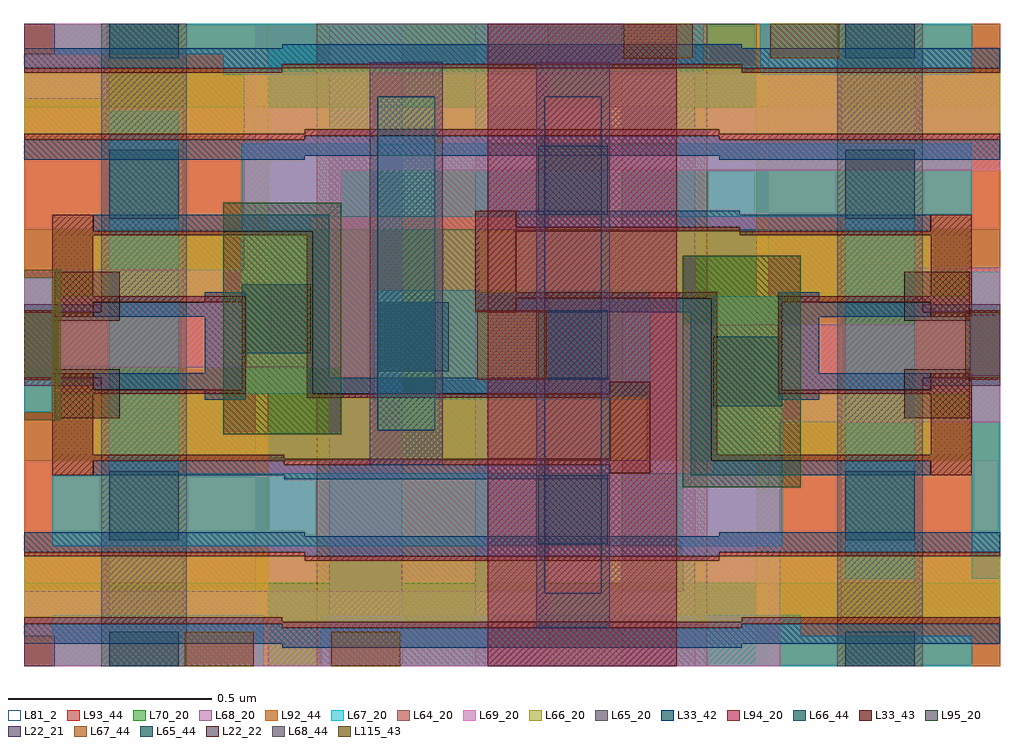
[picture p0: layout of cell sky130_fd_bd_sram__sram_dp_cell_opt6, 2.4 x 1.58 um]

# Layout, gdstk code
from math import pi, radians
import gdstk
lib = gdstk.Library(unit=1e-6, precision=1e-09)
def R(c, l, rs):  # rectangles x0, y0, x1, y1
    for r in rs: c.add(gdstk.rectangle(r[:2], r[2:], *l))
def P(c, l, *ps):  # polygons
    for p in ps: c.add(gdstk.Polygon(p, *l))
L22_21 = (22, 21)
L22_22 = (22, 22)
L33_42 = (33, 42)
L33_43 = (33, 43)
L64_20 = (64, 20)
L65_20 = (65, 20)
L65_44 = (65, 44)
L66_20 = (66, 20)
L66_44 = (66, 44)
L67_20 = (67, 20)
L67_44 = (67, 44)
L68_20 = (68, 20)
L68_44 = (68, 44)
L69_20 = (69, 20)
L70_20 = (70, 20)
L81_2 = (81, 2)
L92_44 = (92, 44)
L93_44 = (93, 44)
L94_20 = (94, 20)
L95_20 = (95, 20)
L115_43 = (115, 43)

sky130_fd_bd_sram__sram_ = lib.new_cell('sky130_fd_bd_sram__sram_dp_mcon_05')
R(sky130_fd_bd_sram__sram_, L67_44, [(-0.085,0,0.085,0.085)])

c_sky130_fd_bd_sram__sram_ = lib.new_cell('sky130_fd_bd_sram__sram_dp_cell_half_limcon_optc')
R(c_sky130_fd_bd_sram__sram_, L67_20, [(0.07,0,0.59,0.125), (0.73,0,1.2,0.125), (0,0.625,0.07,0.955), (0.86,0.655,1.2,0.925)])
P(c_sky130_fd_bd_sram__sram_, L67_20, [(0.49,1.455),(0.49,1.505),(0.07,1.505),(0.07,1.58),(1.2,1.58),(1.2,1.455)],
  [(0.535,0.67),(0.535,1.285),(1.2,1.285),(1.2,1.105),(0.705,1.105),(0.705,0.67)],
  [(0.07,0.295),(0.07,0.47),(0.21,0.47),(0.21,1.365),(0.38,1.365),(0.38,0.475),(1.2,0.475),(1.2,0.295)])
R(c_sky130_fd_bd_sram__sram_, L115_43, [(0,0.605,0.07,0.625), (0.07,0.605,0.09,0.975), (0,0.955,0.07,0.975)])
c_sky130_fd_bd_sram__sram_.add(gdstk.Reference(sky130_fd_bd_sram__sram_, (0.84,0)))
c_sky130_fd_bd_sram__sram_.add(gdstk.Reference(sky130_fd_bd_sram__sram_, (1.2,0.79), rotation=pi/2))
c_sky130_fd_bd_sram__sram_.add(gdstk.Reference(sky130_fd_bd_sram__sram_, (0,0.79), rotation=3*pi/2))
c_sky130_fd_bd_sram__sram_.add(gdstk.Reference(sky130_fd_bd_sram__sram_, (0.48,0)))
c_sky130_fd_bd_sram__sram_.add(gdstk.Label('with mcon', (0.215,0.795), layer=83, texttype=44))
c_sky130_fd_bd_sram__sram_.add(gdstk.Label('short li', (0.165,0.855), layer=83, texttype=44))
c_sky130_fd_bd_sram__sram_.add(gdstk.Label('in cell', (0.165,0.73), layer=83, texttype=44))

c_sky130_fd_bd_sram__sram__ = lib.new_cell('sky130_fd_bd_sram__sram_dp_cell_half_met1_opta')
R(c_sky130_fd_bd_sram__sram__, L68_20, [(0,0,0.21,1.58), (0.39,0,0.57,1.58), (0.75,0,0.93,1.58), (1.11,0,1.2,1.58)])

c_sky130_fd_bd_sram__sram___ = lib.new_cell('sky130_fd_bd_sram__sram_dp_cell_fom_ext_1')
R(c_sky130_fd_bd_sram__sram___, L22_21, [(-0.02,0,0.16,0.085)])

c_sky130_fd_bd_sram__sram____ = lib.new_cell('sky130_fd_bd_sram__sram_dp_licon_05')
R(c_sky130_fd_bd_sram__sram____, L66_44, [(-0.085,0,0.085,0.085)])

c_sky130_fd_bd_sram__sram_____ = lib.new_cell('sky130_fd_bd_sram__sram_dp_licon_1')
c_sky130_fd_bd_sram__sram_____.add(gdstk.Reference(c_sky130_fd_bd_sram__sram____, (0,0)))
c_sky130_fd_bd_sram__sram_____.add(gdstk.Reference(c_sky130_fd_bd_sram__sram____, (0,0), x_reflection=True))

c_sky130_fd_bd_sram__sram______ = lib.new_cell('sky130_fd_bd_sram__sram_dp_cell_pdiff')
R(c_sky130_fd_bd_sram__sram______, L22_21, [(1.26,0.18,1.28,1.4), (1.42,0.18,1.44,1.4), (0.85,0.58,0.87,1.4), (1.01,0.58,1.03,1.4)])
R(c_sky130_fd_bd_sram__sram______, L64_20, [(0.72,0,1.68,1.58)])
R(c_sky130_fd_bd_sram__sram______, L65_20, [(1.28,0.18,1.42,1.4)])
R(c_sky130_fd_bd_sram__sram______, L65_44, [(0.87,0.58,1.01,1.4)])
R(c_sky130_fd_bd_sram__sram______, L93_44, [(0.72,0,1.14,1.58), (1.605,0,1.68,1.58)])
R(c_sky130_fd_bd_sram__sram______, L94_20, [(1.14,0,1.605,1.58)])
c_sky130_fd_bd_sram__sram______.add(gdstk.Reference(c_sky130_fd_bd_sram__sram___, (1.28,1.4)))
c_sky130_fd_bd_sram__sram______.add(gdstk.Reference(c_sky130_fd_bd_sram__sram___, (0.87,1.4)))
c_sky130_fd_bd_sram__sram______.add(gdstk.Reference(c_sky130_fd_bd_sram__sram___, (1.28,0.18), x_reflection=True))
c_sky130_fd_bd_sram__sram______.add(gdstk.Reference(c_sky130_fd_bd_sram__sram___, (0.87,0.58), x_reflection=True))
c_sky130_fd_bd_sram__sram______.add(gdstk.Reference(c_sky130_fd_bd_sram__sram_____, (1.35,0.79)))
c_sky130_fd_bd_sram__sram______.add(gdstk.Reference(c_sky130_fd_bd_sram__sram_____, (0.96,0.81)))
c_sky130_fd_bd_sram__sram______.add(gdstk.Reference(c_sky130_fd_bd_sram__sram_____, (1.35,1.195)))
c_sky130_fd_bd_sram__sram______.add(gdstk.Reference(c_sky130_fd_bd_sram__sram_____, (1.35,0.385)))

c_sky130_fd_bd_sram__sram_______ = lib.new_cell('sky130_fd_bd_sram__sram_dp_cell_half_wl')
P(c_sky130_fd_bd_sram__sram_______, L66_20, [(0.635,-0.01),(0.635,0),(0,0),(0,0.15),(0.69,0.15),(0.69,0.14),(1.2,0.14),(1.2,-0.01)])

c_sky130_fd_bd_sram__sram________ = lib.new_cell('sky130_fd_bd_sram__sram_dp_cell_poly_chair')
P(c_sky130_fd_bd_sram__sram________, L66_20, [(0.64,0.51),(0.64,0.52),(0.08,0.52),(0.08,0.67),(0.545,0.67),(0.545,0.91),(0.08,0.91),(0.08,1.06),(0.695,1.06),(0.695,0.66),(1.28,0.66),(1.28,0.51)])
R(c_sky130_fd_bd_sram__sram________, L95_20, [(0.49,0.57,0.78,1.14)])
c_sky130_fd_bd_sram__sram________.add(gdstk.Reference(c_sky130_fd_bd_sram__sram_______, (0,0.12)))
c_sky130_fd_bd_sram__sram________.add(gdstk.Reference(c_sky130_fd_bd_sram__sram_______, (0,1.46), x_reflection=True))
c_sky130_fd_bd_sram__sram________.add(gdstk.Reference(c_sky130_fd_bd_sram__sram_____, (0.62,0.855)))

c_sky130_fd_bd_sram__sram_________ = lib.new_cell('sky130_fd_bd_sram__sram_dp_cell_fom_srf_1')
R(c_sky130_fd_bd_sram__sram_________, L22_22, [(-0.115,-0.02,0.045,0.1)])

c_sky130_fd_bd_sram__sram__________ = lib.new_cell('sky130_fd_bd_sram__sram_dp_cell_ndiff')
R(c_sky130_fd_bd_sram__sram__________, L22_21, [(0,0.69,0.19,0.71), (0,0.87,0.19,0.89)])
P(c_sky130_fd_bd_sram__sram__________, L65_20, [(0.19,0),(0.19,0.71),(0,0.71),(0,0.87),(0.19,0.87),(0.19,1.58),(0.4,1.58),(0.4,0)])
R(c_sky130_fd_bd_sram__sram__________, L92_44, [(0,0,0.6,1.58)])
R(c_sky130_fd_bd_sram__sram__________, L93_44, [(0,0,0.72,1.58)])
c_sky130_fd_bd_sram__sram__________.add(gdstk.Reference(c_sky130_fd_bd_sram__sram____, (0.295,1.58), rotation=pi))
c_sky130_fd_bd_sram__sram__________.add(gdstk.Reference(c_sky130_fd_bd_sram__sram____, (0,0.79), rotation=3*pi/2))
c_sky130_fd_bd_sram__sram__________.add(gdstk.Reference(c_sky130_fd_bd_sram__sram____, (0.295,0)))
c_sky130_fd_bd_sram__sram__________.add(gdstk.Reference(c_sky130_fd_bd_sram__sram_____, (0.295,1.185)))
c_sky130_fd_bd_sram__sram__________.add(gdstk.Reference(c_sky130_fd_bd_sram__sram_____, (0.295,0.395)))
c_sky130_fd_bd_sram__sram__________.add(gdstk.Reference(c_sky130_fd_bd_sram__sram_________, (0.19,0.87)))
c_sky130_fd_bd_sram__sram__________.add(gdstk.Reference(c_sky130_fd_bd_sram__sram_________, (0.19,0.71), x_reflection=True))

c_sky130_fd_bd_sram__sram___________ = lib.new_cell('sky130_fd_bd_sram__sram_dp_cell')
R(c_sky130_fd_bd_sram__sram___________, L66_20, [(1.28,0.51,1.53,0.66)])
R(c_sky130_fd_bd_sram__sram___________, L81_2, [(0,0,2.4,1.58)])
c_sky130_fd_bd_sram__sram___________.add(gdstk.Reference(c_sky130_fd_bd_sram__sram______, (0,0)))
c_sky130_fd_bd_sram__sram___________.add(gdstk.Reference(c_sky130_fd_bd_sram__sram________, (2.4,1.58), rotation=pi))
c_sky130_fd_bd_sram__sram___________.add(gdstk.Reference(c_sky130_fd_bd_sram__sram________, (0,0)))
c_sky130_fd_bd_sram__sram___________.add(gdstk.Reference(c_sky130_fd_bd_sram__sram__________, (0,0)))
c_sky130_fd_bd_sram__sram___________.add(gdstk.Reference(c_sky130_fd_bd_sram__sram__________, (2.4,0), rotation=pi, x_reflection=True))

c_sky130_fd_bd_sram__sram____________ = lib.new_cell('sky130_fd_bd_sram__sram_dp_cell_half_poly_siz_optd')
P(c_sky130_fd_bd_sram__sram____________, L33_42, [(0.635,-0.075),(0.635,-0.065),(0,-0.065),(0,-0.015),(0.635,-0.015),(0.635,-0.025),(1.2,-0.025),(1.2,-0.075)])
P(c_sky130_fd_bd_sram__sram____________, L33_43, [(0.635,-0.025),(0.635,-0.015),(0,-0.015),(0,0),(0.635,0),(0.635,-0.01),(1.2,-0.01),(1.2,-0.025)])

c_sky130_fd_bd_sram__sram_____________ = lib.new_cell('sky130_fd_bd_sram__sram_dp_cell_half_poly_siz_optc')
P(c_sky130_fd_bd_sram__sram_____________, L33_42, [(0.69,0),(0.69,0.01),(0,0.01),(0,0.06),(0.69,0.06),(0.69,0.05),(1.2,0.05),(1.2,0)])
R(c_sky130_fd_bd_sram__sram_____________, L33_43, [(0.69,-0.01,1.2,0), (0,0,0.69,0.01)])

c_sky130_fd_bd_sram__sram______________ = lib.new_cell('sky130_fd_bd_sram__sram_dp_cell_half_poly_siz_opta')
P(c_sky130_fd_bd_sram__sram______________, L33_42, [(0,0.01),(0,0.06),(0.635,0.06),(0.635,0.07),(1.2,0.07),(1.2,0.02),(0.635,0.02),(0.635,0.01)])
R(c_sky130_fd_bd_sram__sram______________, L33_43, [(0,0,0.635,0.01), (0.635,0.01,1.2,0.02)])

c_sky130_fd_bd_sram__sram_______________ = lib.new_cell('sky130_fd_bd_sram__sram_dp_cell_poly_srf_optb')
R(c_sky130_fd_bd_sram__sram_______________, L33_43, [(0,-0.185,0.1,0.04)])

c_sky130_fd_bd_sram__sram________________ = lib.new_cell('sky130_fd_bd_sram__sram_dp_cell_poly_srf_opta')
R(c_sky130_fd_bd_sram__sram________________, L33_43, [(-0.1,-0.2,0,0.05)])

c_sky130_fd_bd_sram__sram_________________ = lib.new_cell('sky130_fd_bd_sram__sram_dp_cell_half_poly_siz_optb')
P(c_sky130_fd_bd_sram__sram_________________, L33_42, [(0,-0.065),(0,-0.015),(0.69,-0.015),(0.69,-0.005),(1.2,-0.005),(1.2,-0.055),(0.69,-0.055),(0.69,-0.065)])
P(c_sky130_fd_bd_sram__sram_________________, L33_43, [(0,-0.015),(0,0),(0.69,0),(0.69,0.01),(1.2,0.01),(1.2,-0.005),(0.69,-0.005),(0.69,-0.015)])

c_sky130_fd_bd_sram__sram__________________ = lib.new_cell('sky130_fd_bd_sram__sram_dp_cell_poly_srf_dp_opta')
R(c_sky130_fd_bd_sram__sram__________________, L33_42, [(0,-0.24,0.1,0.025)])

c_sky130_fd_bd_sram__sram___________________ = lib.new_cell('sky130_fd_bd_sram__sram_dp_cell_opt1_poly_siz')
P(c_sky130_fd_bd_sram__sram___________________, L33_42, [(1.64,0.47),(1.64,0.87),(1.21,0.87),(1.21,0.905),(1.69,0.905),(1.69,0.505),(2.23,0.505),(2.23,0.47)],
  [(0.71,0.67),(0.71,1.07),(0.17,1.07),(0.17,1.11),(0.75,1.11),(0.75,0.71),(1.44,0.71),(1.44,0.67)],
  [(0.17,0.68),(0.17,0.72),(0.5,0.72),(0.5,0.86),(0.17,0.86),(0.17,0.895),(0.535,0.895),(0.535,0.68)],
  [(0.64,0.46),(0.64,0.47),(0.17,0.47),(0.17,0.505),(0.64,0.505),(0.64,0.495),(1.44,0.495),(1.44,0.46)],
  [(1.76,1.07),(1.76,1.08),(1.21,1.08),(1.21,1.12),(1.76,1.12),(1.76,1.11),(2.23,1.11),(2.23,1.07)],
  [(1.865,0.68),(1.865,0.895),(2.23,0.895),(2.23,0.86),(1.9,0.86),(1.9,0.72),(2.23,0.72),(2.23,0.68)])
R(c_sky130_fd_bd_sram__sram___________________, L33_43, [(1.76,1.06,2.23,1.07), (1.21,1.07,1.76,1.08)])
P(c_sky130_fd_bd_sram__sram___________________, L33_43, [(0.695,0.66),(0.695,1.06),(0.17,1.06),(0.17,1.07),(0.71,1.07),(0.71,0.67),(1.44,0.67),(1.44,0.66)],
  [(1.69,0.505),(1.69,0.905),(1.21,0.905),(1.21,0.92),(1.705,0.92),(1.705,0.52),(2.23,0.52),(2.23,0.505)],
  [(0.64,0.495),(0.64,0.505),(0.17,0.505),(0.17,0.52),(0.64,0.52),(0.64,0.51),(1.44,0.51),(1.44,0.495)],
  [(0.17,0.67),(0.17,0.68),(0.535,0.68),(0.535,0.895),(0.17,0.895),(0.17,0.91),(0.545,0.91),(0.545,0.67)],
  [(1.855,0.67),(1.855,0.91),(2.23,0.91),(2.23,0.895),(1.865,0.895),(1.865,0.68),(2.23,0.68),(2.23,0.67)])
c_sky130_fd_bd_sram__sram___________________.add(gdstk.Reference(c_sky130_fd_bd_sram__sram____________, (2.4,0.12), rotation=pi, x_reflection=True))
c_sky130_fd_bd_sram__sram___________________.add(gdstk.Reference(c_sky130_fd_bd_sram__sram____________, (0,0.12)))
c_sky130_fd_bd_sram__sram___________________.add(gdstk.Reference(c_sky130_fd_bd_sram__sram_____________, (2.4,0.27), rotation=pi, x_reflection=True))
c_sky130_fd_bd_sram__sram___________________.add(gdstk.Reference(c_sky130_fd_bd_sram__sram_____________, (0,0.27)))
c_sky130_fd_bd_sram__sram___________________.add(gdstk.Reference(c_sky130_fd_bd_sram__sram______________, (2.4,1.46), rotation=pi, x_reflection=True))
c_sky130_fd_bd_sram__sram___________________.add(gdstk.Reference(c_sky130_fd_bd_sram__sram______________, (0,1.46)))
c_sky130_fd_bd_sram__sram___________________.add(gdstk.Reference(c_sky130_fd_bd_sram__sram_______________, (1.44,0.66)))
c_sky130_fd_bd_sram__sram___________________.add(gdstk.Reference(c_sky130_fd_bd_sram__sram________________, (2.23,0.67), rotation=pi, x_reflection=True))
c_sky130_fd_bd_sram__sram___________________.add(gdstk.Reference(c_sky130_fd_bd_sram__sram________________, (2.23,1.06), rotation=pi, x_reflection=True))
c_sky130_fd_bd_sram__sram___________________.add(gdstk.Reference(c_sky130_fd_bd_sram__sram________________, (1.21,1.07)))
c_sky130_fd_bd_sram__sram___________________.add(gdstk.Reference(c_sky130_fd_bd_sram__sram________________, (0.17,0.67)))
c_sky130_fd_bd_sram__sram___________________.add(gdstk.Reference(c_sky130_fd_bd_sram__sram________________, (0.17,1.06)))
c_sky130_fd_bd_sram__sram___________________.add(gdstk.Reference(c_sky130_fd_bd_sram__sram_________________, (0,1.31)))
c_sky130_fd_bd_sram__sram___________________.add(gdstk.Reference(c_sky130_fd_bd_sram__sram_________________, (2.4,1.31), rotation=pi, x_reflection=True))
c_sky130_fd_bd_sram__sram___________________.add(gdstk.Reference(c_sky130_fd_bd_sram__sram__________________, (0.445,0.895)))
c_sky130_fd_bd_sram__sram___________________.add(gdstk.Reference(c_sky130_fd_bd_sram__sram__________________, (1.955,0.895), rotation=pi, x_reflection=True))

c_sky130_fd_bd_sram__sram____________________ = lib.new_cell('sky130_fd_bd_sram__sram_dp_cell_met23_opt5')
R(c_sky130_fd_bd_sram__sram____________________, L68_44, [(0,0,0.075,0.075), (2.325,0.715,2.4,0.865), (0,1.505,0.075,1.58)])
R(c_sky130_fd_bd_sram__sram____________________, L69_20, [(0,0,0.225,0.185), (0.225,0,1.86,0.185), (1.62,0.185,1.86,0.6), (0,0.735,0.78,0.975), (0.54,0.975,0.78,1.22), (0.54,1.22,2.4,1.46), (0,1.395,0.205,1.58)])
P(c_sky130_fd_bd_sram__sram____________________, L69_20, [(1.62,0.6),(1.62,0.84),(2.195,0.84),(2.195,0.98),(2.4,0.98),(2.4,0.6)])
R(c_sky130_fd_bd_sram__sram____________________, L70_20, [(0,0,2.4,0.205), (0,0.505,2.4,1.075), (0,1.375,2.4,1.58)])

c_sky130_fd_bd_sram__sram_____________________ = lib.new_cell('sky130_fd_bd_sram__sram_dp_cell_half_limcon_opta')
R(c_sky130_fd_bd_sram__sram_____________________, L67_20, [(0.07,0,0.59,0.125), (0.73,0,1.2,0.125), (0,0.61,0.07,1.365), (0.86,0.655,1.2,0.925)])
P(c_sky130_fd_bd_sram__sram_____________________, L67_20, [(0.49,1.455),(0.49,1.505),(0.07,1.505),(0.07,1.58),(1.2,1.58),(1.2,1.455)],
  [(0.535,0.67),(0.535,1.285),(1.2,1.285),(1.2,1.105),(0.705,1.105),(0.705,0.67)],
  [(0.07,0.295),(0.07,0.47),(0.21,0.47),(0.21,1.365),(0.38,1.365),(0.38,0.475),(1.2,0.475),(1.2,0.295)])
c_sky130_fd_bd_sram__sram_____________________.add(gdstk.Reference(sky130_fd_bd_sram__sram_, (0.84,0)))
c_sky130_fd_bd_sram__sram_____________________.add(gdstk.Reference(sky130_fd_bd_sram__sram_, (1.2,0.79), rotation=pi/2))
c_sky130_fd_bd_sram__sram_____________________.add(gdstk.Reference(sky130_fd_bd_sram__sram_, (0,0.79), rotation=3*pi/2))
c_sky130_fd_bd_sram__sram_____________________.add(gdstk.Reference(sky130_fd_bd_sram__sram_, (0.48,0)))

c_sky130_fd_bd_sram__sram______________________ = lib.new_cell('sky130_fd_bd_sram__sram_dp_cell_opt6')
c_sky130_fd_bd_sram__sram______________________.add(gdstk.Reference(c_sky130_fd_bd_sram__sram_, (0,0)))
c_sky130_fd_bd_sram__sram______________________.add(gdstk.Reference(c_sky130_fd_bd_sram__sram__, (2.4,0), rotation=pi, x_reflection=True))
c_sky130_fd_bd_sram__sram______________________.add(gdstk.Reference(c_sky130_fd_bd_sram__sram__, (0,0)))
c_sky130_fd_bd_sram__sram______________________.add(gdstk.Reference(c_sky130_fd_bd_sram__sram___________, (0,0)))
c_sky130_fd_bd_sram__sram______________________.add(gdstk.Reference(c_sky130_fd_bd_sram__sram___________________, (0,0)))
c_sky130_fd_bd_sram__sram______________________.add(gdstk.Reference(c_sky130_fd_bd_sram__sram____________________, (0,0)))
c_sky130_fd_bd_sram__sram______________________.add(gdstk.Reference(c_sky130_fd_bd_sram__sram_____________________, (2.4,1.58), rotation=pi))

lib.write_gds('sky130_fd_bd_sram__sram_dp_cell_opt6.gds')
